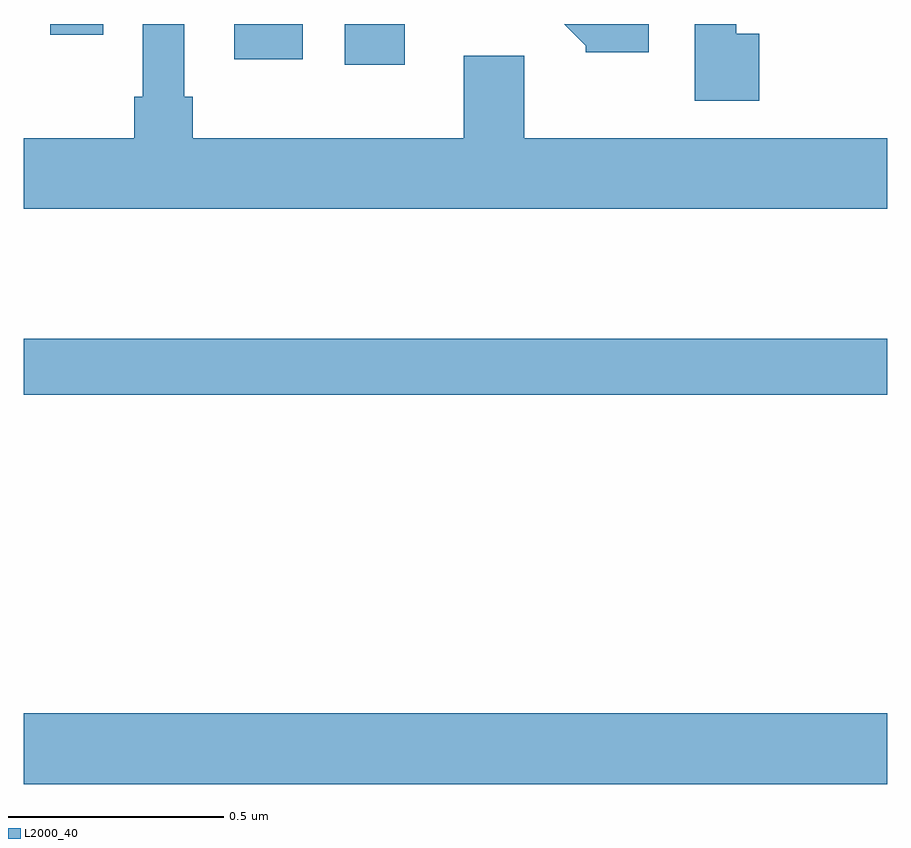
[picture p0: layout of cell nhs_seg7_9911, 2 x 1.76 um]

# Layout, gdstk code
import gdstk
lib = gdstk.Library(unit=1e-6, precision=1e-09)
def R(c, l, rs):  # rectangles x0, y0, x1, y1
    for r in rs: c.add(gdstk.rectangle(r[:2], r[2:], *l))
def P(c, l, *ps):  # polygons
    for p in ps: c.add(gdstk.Polygon(p, *l))
L2000_40 = (2000, 40)

nhs_seg7_9911 = lib.new_cell('nhs_seg7_9911')
R(nhs_seg7_9911, L2000_40, [(243,1043.24,245,1043.404), (243,1044.142,245,1044.271), (243.743,1044.906,243.883,1045), (243.488,1044.918,243.646,1045), (243.062,1044.975,243.184,1045)])
P(nhs_seg7_9911, L2000_40, [(245,1044.736),(244.159,1044.736),(244.159,1044.926),(244.019,1044.926),(244.019,1044.736),(243.392,1044.736),(243.392,1044.832),(243.372,1044.832),(243.372,1045),(243.276,1045),(243.276,1044.832),(243.256,1044.832),(243.256,1044.736),(243,1044.736),(243,1044.572),(245,1044.572)],
  [(244.447,1045),(244.252,1045),(244.302,1044.95),(244.302,1044.935),(244.447,1044.935)],
  [(244.703,1044.978),(244.65,1044.978),(244.65,1045),(244.554,1045),(244.554,1044.822),(244.703,1044.822)])

lib.write_gds('nhs_seg7_9911.gds')
